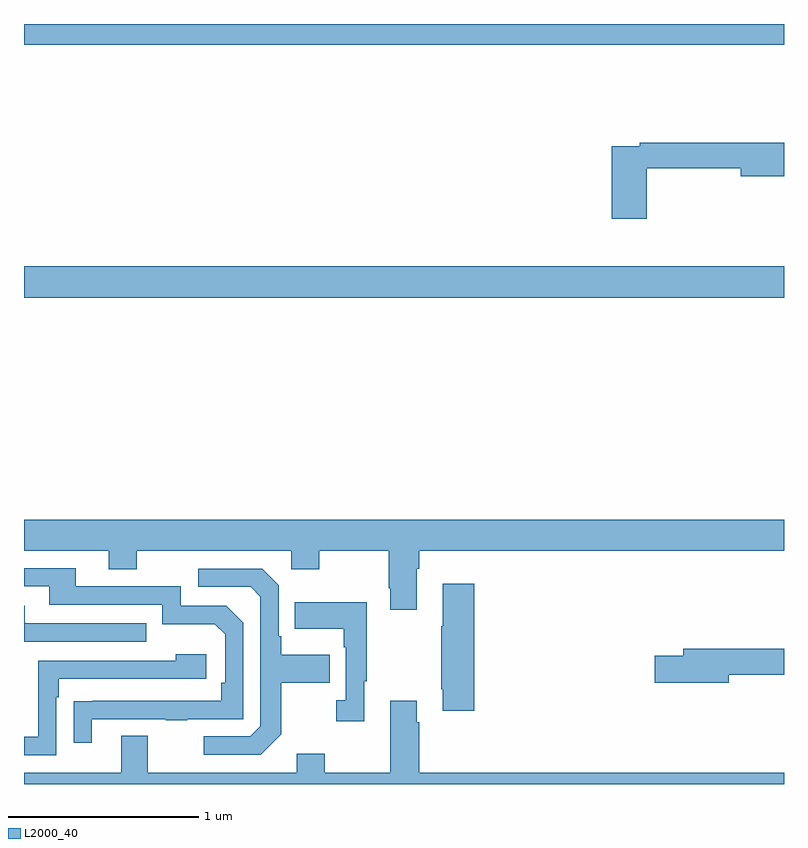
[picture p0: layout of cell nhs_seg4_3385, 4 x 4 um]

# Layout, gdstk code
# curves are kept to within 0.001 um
import gdstk
lib = gdstk.Library(unit=1e-6, precision=1e-09)
def R(c, l, rs):  # rectangles x0, y0, x1, y1
    for r in rs: c.add(gdstk.rectangle(r[:2], r[2:], *l))
def P(c, l, *ps):  # polygons
    for p in ps: c.add(gdstk.Polygon(p, *l))
L2000_40 = (2000, 40)

nhs_seg4_3385 = lib.new_cell('nhs_seg4_3385')
R(nhs_seg4_3385, L2000_40, [(289,823.46,293,823.624), (289,824.792,293,824.9)])
P(nhs_seg4_3385, L2000_40, [(292.277,824.14),(292.772,824.14),(292.772,824.098),(293,824.098),(293,824.276),(292.24,824.276),(292.24,824.256),(292.094,824.256),(292.094,823.875),(292.277,823.875)],
  [(291.067,822.032),(291.08,822.032),(291.08,822.128),(293,822.128),(293,822.292),(289,822.292),(289,822.128),(289.445,822.128),(289.445,822.029),(289.593,822.029),(289.593,822.128),(290.406,822.128),(290.406,822.029),(290.553,822.029),(290.553,822.128),(290.92,822.128),(290.92,821.929),(290.927,821.929),(290.927,821.817),(291.067,821.817)],
  [(289.357,821.241),(289.747,821.241),(289.747,821.236),(289.859,821.236),(289.859,821.241),(290.154,821.241),(290.154,821.748),(290.064,821.838),(289.824,821.838),(289.824,821.94),(289.273,821.94),(289.273,822.036),(289,822.036),(289,821.94),(289.133,821.94),(289.133,821.844),(289.728,821.844),(289.728,821.741),(290.005,821.741),(290.058,821.688),(290.058,821.434),(290.038,821.434),(290.038,821.337),(289.261,821.336),(289.261,821.118),(289.357,821.118)],
  [(290.353,821.161),(290.353,821.434),(290.609,821.434),(290.609,821.581),(290.353,821.581),(290.353,821.677),(290.34,821.677),(290.34,821.946),(290.253,822.033),(289.917,822.033),(289.917,821.937),(290.193,821.937),(290.244,821.886),(290.244,821.205),(290.19,821.151),(289.947,821.151),(289.947,821.055),(290.247,821.055)],
  [(291.371,821.953),(291.203,821.953),(291.203,821.729),(291.196,821.729),(291.196,821.398),(291.203,821.398),(291.203,821.286),(291.371,821.286)],
  [(290.791,821.441),(290.803,821.441),(290.803,821.857),(290.425,821.857),(290.425,821.717),(290.682,821.717),(290.682,821.621),(290.694,821.621),(290.694,821.342),(290.643,821.342),(290.643,821.229),(290.791,821.229)],
  [(289.643,821.745),(289.003,821.745),(289.003,821.839),(289,821.839),(289,821.649),(289.643,821.649)],
  [(292.708,821.476),(293,821.476),(293,821.612),(292.469,821.612),(292.469,821.576),(292.32,821.576),(292.32,821.434),(292.708,821.434)],
  [(289.17,821.357),(289.183,821.357),(289.183,821.454),(289.96,821.454),(289.96,821.584),(289.799,821.584),(289.799,821.55),(289.074,821.55),(289.074,821.148),(289,821.148),(289,821.052),(289.17,821.052)],
  [(293,820.96),(291.08,820.96),(291.08,821.225),(291.067,821.225),(291.067,821.338),(290.927,821.338),(290.927,820.96),(290.583,820.96),(290.583,821.059),(290.435,821.059),(290.435,820.96),(289.651,820.96),(289.651,821.155),(289.511,821.155),(289.511,820.96),(289,820.96),(289,820.9),(293,820.9)])

lib.write_gds('nhs_seg4_3385.gds')
